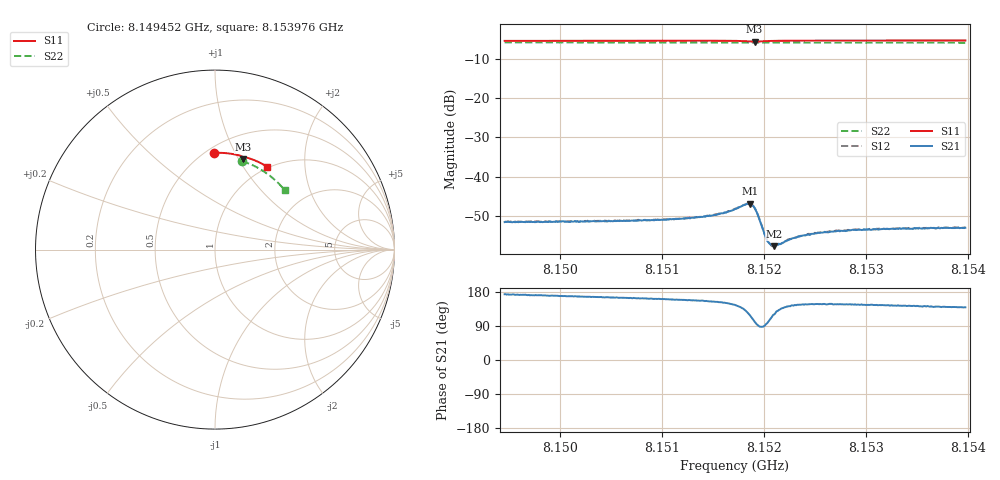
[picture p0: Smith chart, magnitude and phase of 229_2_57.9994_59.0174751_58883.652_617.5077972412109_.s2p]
#  HZ  S  RI  R  50.00
! Rohde & Schwarz Vector Network Analyzer
! Rohde-Schwarz,ZNB20-2Port,1311601062101988,3.16
! Created: UTC 3/21/2024, 1:00:29 AM
! freq[Hz]  re:S11  im:S11  re:S21  im:S21  re:S12  im:S12  re:S22  im:S22
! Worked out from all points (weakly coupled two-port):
!   401 points, 8.149452 GHz to 8.153976 GHz, reference 50 ohm
!   highest |S21| = -46.92 dB at 8.151861 GHz (marker M1); lowest = -57.8 dB at 8.152099 GHz (marker M2)
!   lowest |S11| = -5.6 dB at 8.151906 GHz (marker M3), VSWR 3.23, Z = 37.3 + j52.1 ohm
!   |S11| at or under -10 dB: nowhere
!   |S22| runs from -5.8 to -5.7 dB; largest |S21 - S12| = 0.00012
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8.1494522e9  -0.00813 0.5391  -0.00261 0.000294  -0.00262 0.000346  0.1519 0.4929
8.15021e9  0.0449 0.5387  -0.00261 0.000605  -0.00263 0.000648  0.1979 0.4755
8.1509677e9  0.0978 0.5325  -0.00265 0.000888  -0.00264 0.000977  0.2417 0.4538
8.1512279e9  0.1161 0.5292  -0.00275 0.00109  -0.00271 0.00111  0.2563 0.4454
8.1514767e9  0.1342 0.525  -0.00286 0.00136  -0.00287 0.0014  0.2698 0.4369
8.1516011e9  0.1435 0.5219  -0.00298 0.00165  -0.003 0.00172  0.2766 0.4325
8.1517142e9  0.1524 0.5178  -0.00317 0.00219  -0.00316 0.00228  0.2827 0.4283
8.151816e9  0.159 0.5104  -0.00287 0.00332  -0.00284 0.0034  0.2879 0.4244
8.1518612e9  0.1588 0.5059  -0.00209 0.00399  -0.00204 0.00402  0.2901 0.4225
8.1518839e9  0.1576 0.5044  -0.00143 0.00405  -0.00142 0.00413  0.291 0.4217
8.1519065e9  0.1556 0.5042  -0.000779 0.0039  -0.000738 0.00391  0.2919 0.4209
8.1519404e9  0.1538 0.5063  -8.06e-05 0.00318  -2.17e-05 0.00322  0.2938 0.4197
8.1520083e9  0.157 0.5116  -4.14e-05 0.0018  -7.01e-06 0.00178  0.2972 0.4176
8.1520309e9  0.159 0.5126  -0.000191 0.0015  -0.000195 0.00152  0.2987 0.4166
8.1520648e9  0.1622 0.5135  -0.000457 0.00128  -0.000431 0.00128  0.3004 0.4154
8.1520988e9  0.1654 0.5138  -0.000651 0.00112  -0.000674 0.00113  0.3021 0.4143
8.1522458e9  0.1775 0.5122  -0.00124 0.000959  -0.00126 0.000971  0.3096 0.4083
8.1523476e9  0.1852 0.5102  -0.00143 0.000963  -0.00145 0.000973  0.3149 0.4044
8.152472e9  0.194 0.5075  -0.00157 0.000994  -0.00156 0.00101  0.321 0.3991
8.1527208e9  0.2109 0.5014  -0.00171 0.00109  -0.00169 0.00113  0.333 0.3889
8.1532298e9  0.2439 0.4872  -0.00173 0.00127  -0.0017 0.00129  0.3565 0.3664
8.1539762e9  0.2896 0.4628  -0.00168 0.00146  -0.00169 0.0015  0.3883 0.3311
